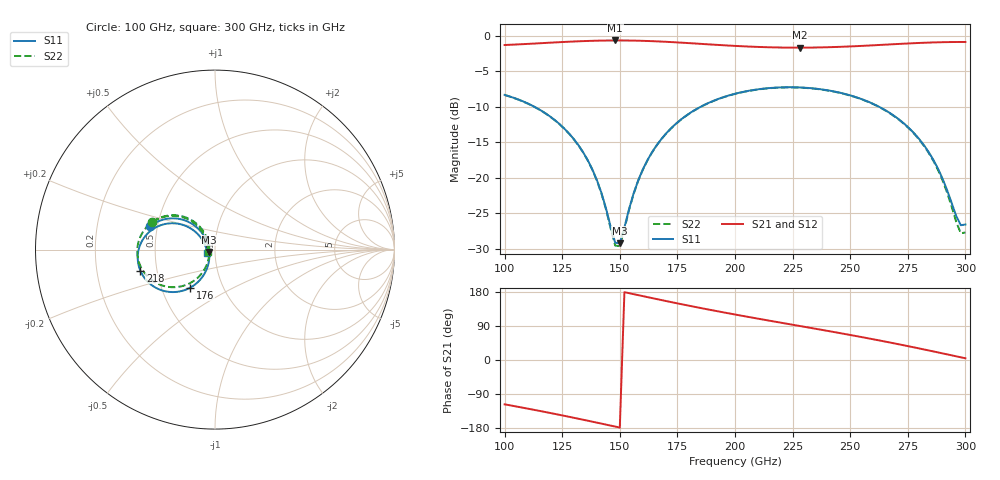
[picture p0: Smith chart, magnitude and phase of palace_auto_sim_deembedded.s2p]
! Created with skrf 1.11.0 (http://scikit-rf.org).
# GHz S DB R 50.0
!freq dBS11 angS11 dBS21 angS21 dBS12 angS12 dBS22 angS22
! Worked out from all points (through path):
!   101 points, 100 GHz to 300 GHz, reference 50 ohm
!   highest |S21| = -0.64 dB at 148 GHz (marker M1); lowest = -1.7 dB at 228 GHz (marker M2)
!   group delay of S21, straight-line fit = 3.27 ps
!   lowest |S11| = -29.3 dB at 150 GHz (marker M3), VSWR 1.07, Z = 46.9 - j1.24 ohm
!   |S11| at or under -10 dB: 113 GHz to 185.1 GHz (72.11 GHz wide, 48.4 % of centre); 262.6 GHz to end of sweep
!   |S22| runs from -29.7 to -7.3 dB; largest |S21 - S12| = 1.1e-14
!   S11 on the Smith chart (normalised r, x): 100 GHz: 0.46, +0.14; 176 GHz: 0.70, -0.32; 218 GHz: 0.40, -0.12; 300 GHz: 0.92, -0.04
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100  -8.32 160.1  -1.28 -117.0  -1.28 -117.0  -8.34 156.4
120  -11.43 140.1  -0.95 -140.1  -0.95 -140.1  -11.45 135.5
134  -16.36 128.9  -0.73 -157.5  -0.73 -157.5  -16.40 123.5
142  -22.11 131.3  -0.66 -167.8  -0.66 -167.8  -22.21 125.2
148  -29.18 171.0  -0.64 -175.7  -0.64 -175.7  -29.58 164.9
150  -29.25 -157.4  -0.64 -178.3  -0.64 -178.3  -29.66 -162.0
158  -20.37 -113.9  -0.68 171.2  -0.68 171.2  -20.43 -118.7
162  -17.52 -113.1  -0.71 166.0  -0.71 166.0  -17.57 -118.2
168  -14.56 -116.2  -0.80 158.3  -0.80 158.3  -14.59 -121.8
176  -11.93 -123.1  -0.94 148.2  -0.94 148.2  -11.96 -129.1
186  -9.84 -132.9  -1.14 136.1  -1.14 136.1  -9.86 -139.3
200  -8.16 -146.8  -1.41 120.1  -1.41 120.1  -8.18 -153.9
218  -7.29 -164.2  -1.62 100.5  -1.62 100.5  -7.31 -172.1
228  -7.27 -173.7  -1.65 89.9  -1.65 89.9  -7.29 178.0
234  -7.40 -179.4  -1.64 83.5  -1.64 83.5  -7.43 172.0
252  -8.58 163.4  -1.45 63.8  -1.45 63.8  -8.61 154.0
268  -11.04 148.5  -1.18 45.2  -1.18 45.2  -11.08 138.1
276  -13.15 141.9  -1.05 35.4  -1.05 35.4  -13.21 130.9
284  -16.35 137.9  -0.94 25.3  -0.94 25.3  -16.47 125.9
290  -20.07 140.5  -0.88 17.6  -0.88 17.6  -20.31 127.3
298  -26.70 -177.5  -0.85 7.1  -0.85 7.1  -27.85 170.4
300  -26.61 -155.0  -0.86 4.5  -0.86 4.5  -27.72 -163.7
